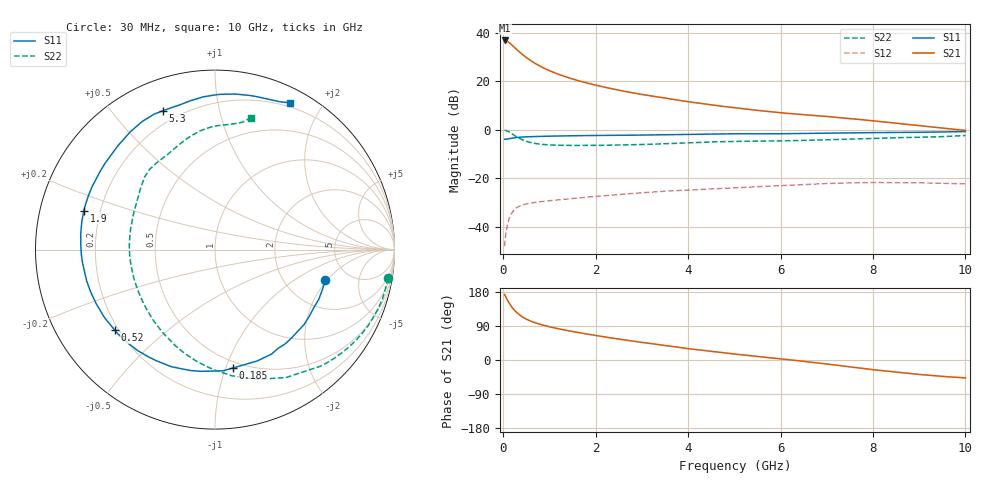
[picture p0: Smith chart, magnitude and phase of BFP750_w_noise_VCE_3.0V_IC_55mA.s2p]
! Infineon Technologies  Discrete & RF Semiconductors
! BFP750
! VCE =  3.0 V,  IC =  55 mA
! Common Emitter S-Parameters:  Jan 2016
# GHz  S  MA  R  50
!  f  S11  S21  S12  S22
! GHz  MAG  ANG  MAG  ANG  MAG  ANG  MAG  ANG
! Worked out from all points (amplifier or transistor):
!   229 points, 30 MHz to 10 GHz, reference 50 ohm
!   highest |S21| = 36.8 dB at 30 MHz (marker M1)
!   |S21| within 3 dB of that: start of sweep to 251.6 MHz
!   unconditionally stable (mu >= 1): 3.996 GHz to end of sweep
!   at 280 MHz: K = 0.17, MSG = 32.8 dB, |S12| = -32.3 dB
!   at 1.78 GHz: K = 0.72, MSG = 23.6 dB, |S12| = -27.8 dB
!   at 10 GHz: K = 1.05, MAG = 9.7 dB, |S12| = -22.3 dB
!   lowest NFmin = 1.08 dB at 450 MHz
!   S11 on the Smith chart (normalised r, x): 30 MHz: 3.36, -1.91; 185 MHz: 0.45, -1.06; 520 MHz: 0.19, -0.34; 1.9 GHz: 0.14, +0.14; 5.3 GHz: 0.14, +0.68; 10 GHz: 0.15, +1.62
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0.03  0.6381 -15.3  69.3 172.7  0.004 84.6  0.9759 -9.4
0.06  0.6385 -30.4  68.36 165.3  0.0077 77.8  0.967 -19.9
0.1  0.6515 -49.3  65.15 156.2  0.0122 69.3  0.9324 -33.1
0.15  0.6633 -69.3  60.11 146.0  0.0168 60.7  0.876 -47.9
0.185  0.6668 -81.2  56.01 140.1  0.0192 55.6  0.8286 -56.9
0.2  0.6769 -86.1  54.46 137.3  0.0203 53.8  0.815 -61.0
0.26  0.6877 -101.7  48.24 129.2  0.0234 47.2  0.7468 -74.4
0.34  0.7002 -118.0  41.02 120.3  0.0264 40.8  0.6736 -89.5
0.44  0.7113 -132.6  34.08 111.8  0.0287 35.3  0.6086 -104.6
0.52  0.7164 -141.2  29.86 106.8  0.0299 32.5  0.5714 -114.3
0.7  0.7274 -155.5  23.01 97.9  0.032 28.6  0.5216 -131.6
0.9  0.7359 -166.3  18.25 90.7  0.0337 26.4  0.495 -145.3
1.2  0.7452 -178.0  13.85 82.2  0.036 25.0  0.4797 -160.0
1.7  0.7584 168.0  9.822 70.9  0.04 24.0  0.4763 -176.4
1.9  0.7625 163.4  8.752 66.7  0.0416 23.6  0.4777 178.4
2.6  0.7712 149.0  6.259 53.4  0.0471 21.5  0.4875 162.4
3.4  0.7879 134.9  4.637 39.9  0.0534 17.8  0.5117 148.4
5.1  0.8268 113.0  2.779 14.6  0.0647 8.7  0.5779 127.9
5.3  0.8262 110.7  2.642 12.0  0.066 7.4  0.58 125.6
6.8  0.8473 96.5  1.944 -7.6  0.0765 -2.7  0.6145 109.7
8.4  0.8799 77.6  1.399 -30.7  0.0819 -17.9  0.6835 91.8
10  0.9197 62.9  0.973 -47.2  0.077 -29.4  0.762 74.8
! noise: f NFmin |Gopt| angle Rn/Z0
0.45  1.08  0.19  -168  0.47
0.9  1.11  0.25  -161  0.24
1.5  1.13  0.36  -155  0.09
1.9  1.14  0.39  -150  0.08
2.4  1.15  0.4  -143  0.09
3.5  1.38  0.41  -127  0.1
